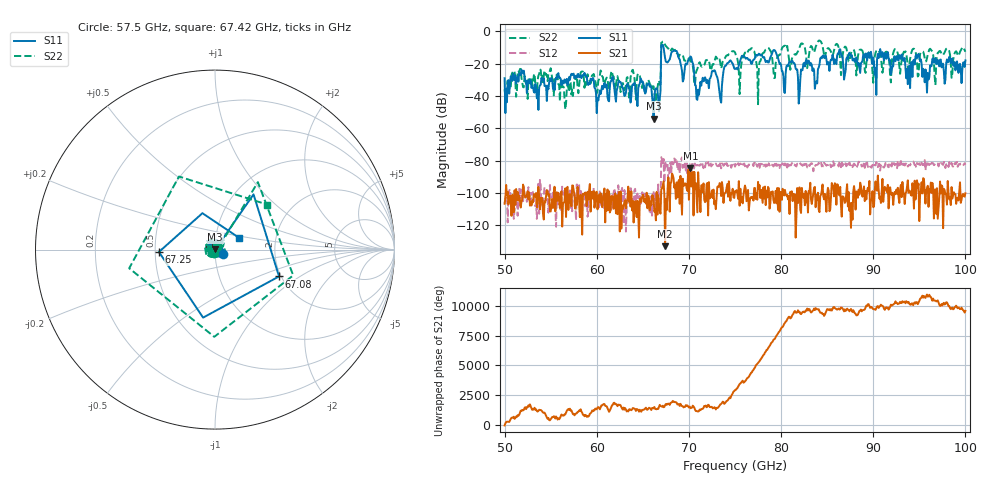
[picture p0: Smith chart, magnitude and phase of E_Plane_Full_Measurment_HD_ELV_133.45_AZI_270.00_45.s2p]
! 11/26/2026 3:39:04 PM
! C:\ANRITSUVNA\TEMP\TEMP.S2P
! CHANNEL.1
! TR.MEASUREMENT
! RAW.DATA
# HZ S RI R 50.0
! FREQ.HZ  S11RE  S11IM  S21RE  S21IM  S12RE  S12IM  S22RE  S22IM
!; PortSelection: Port_12
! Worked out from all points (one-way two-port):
!   601 points, 50 GHz to 100 GHz, reference 50 ohm
!   highest |S21| = -84.89 dB at 70.17 GHz (marker M1); lowest = -133.0 dB at 67.42 GHz (marker M2)
!   lowest |S11| = -54.0 dB at 66.17 GHz (marker M3), VSWR 1.00, Z = 50.1 + j0.147 ohm
!   |S11| at or under -10 dB: start of sweep to 67 GHz; 67.25 GHz to end of sweep
!   |S22| runs from -48.3 to -5.6 dB; largest |S21 - S12| = 0.00013
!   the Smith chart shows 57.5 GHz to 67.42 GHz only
!   S11 on the Smith chart (normalised r, x): 57.5 GHz: 1.09, -0.05; 67.08 GHz: 1.95, -0.69; 67.25 GHz: 0.52, -0.02; 67.42 GHz: 1.29, +0.18
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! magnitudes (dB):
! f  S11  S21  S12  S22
! 50 GHz  -29.0  -106.8  -106.5  -35.7
! 51.67 GHz  -26.3  -104.7  -108.6  -23.2
! 53.42 GHz  -34.7  -100.1  -106.0  -34.9
! 57.5 GHz  -26.1  -98.8  -100.3  -34.6
! 58.42 GHz  -27.1  -125.9  -103.7  -24.8
! 60.17 GHz  -42.7  -103.0  -103.5  -30.4
! 66.17 GHz  -54.0  -103.7  -98.7  -34.0
! 66.67 GHz  -41.5  -101.4  -94.8  -31.6
! 67.08 GHz  -8.2  -97.2  -79.6  -6.8
! 67.25 GHz  -10.1  -92.9  -79.0  -6.2
! 67.42 GHz  -16.6  -133.0  -80.4  -8.3
! 70.17 GHz  -15.5  -84.9  -83.2  -18.5
! 70.92 GHz  -42.4  -112.0  -82.9  -23.1
! 75 GHz  -23.3  -98.9  -83.8  -12.9
! 79.25 GHz  -11.5  -106.3  -82.6  -28.9
! 80.25 GHz  -27.8  -99.7  -83.7  -9.3
! 83.42 GHz  -24.5  -103.6  -82.6  -10.8
! 91.67 GHz  -16.7  -109.6  -84.1  -15.2
! 93.75 GHz  -32.7  -92.2  -83.7  -21.3
! 94.83 GHz  -15.0  -96.6  -82.0  -27.9
! 95.83 GHz  -37.9  -97.5  -82.1  -16.5
! 100 GHz  -18.0  -100.2  -82.5  -12.6
